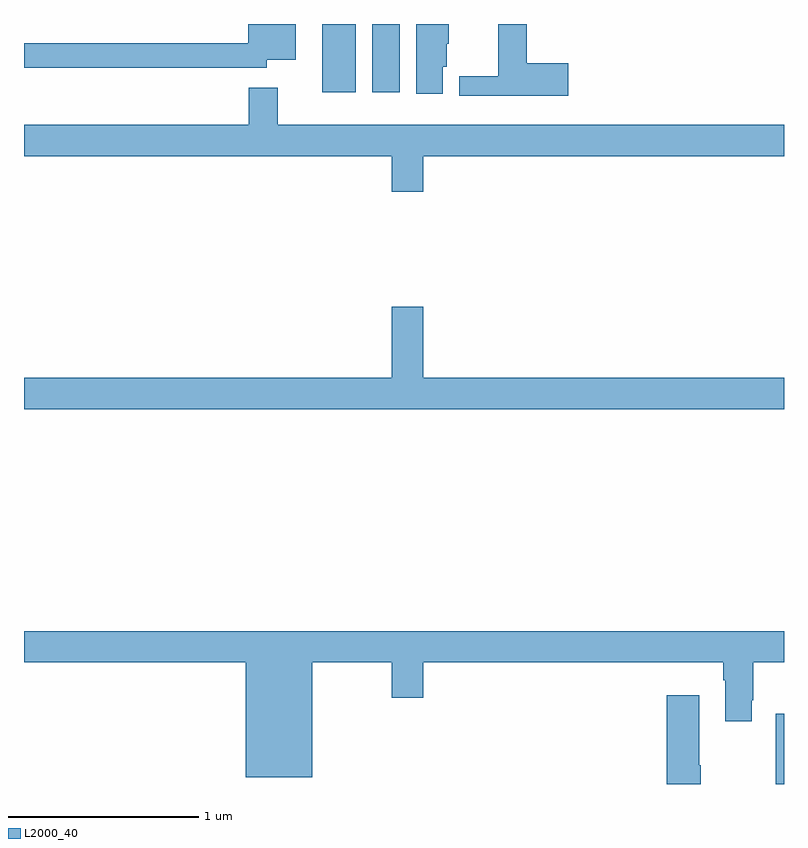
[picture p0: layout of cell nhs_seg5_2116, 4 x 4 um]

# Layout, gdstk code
import gdstk
lib = gdstk.Library(unit=1e-6, precision=1e-09)
def R(c, l, rs):  # rectangles x0, y0, x1, y1
    for r in rs: c.add(gdstk.rectangle(r[:2], r[2:], *l))
def P(c, l, *ps):  # polygons
    for p in ps: c.add(gdstk.Polygon(p, *l))
L2000_40 = (2000, 40)

nhs_seg5_2116 = lib.new_cell('nhs_seg5_2116')
R(nhs_seg5_2116, L2000_40, [(238.956,842.799,239,843.169), (236.57,846.44,236.746,846.799), (236.834,846.44,236.977,846.799)])
P(nhs_seg5_2116, L2000_40, [(237.205,846.573),(237.226,846.573),(237.226,846.696),(237.235,846.696),(237.235,846.799),(237.065,846.799),(237.065,846.432),(237.205,846.432)],
  [(237.865,846.593),(237.647,846.593),(237.647,846.799),(237.496,846.799),(237.496,846.524),(237.291,846.524),(237.291,846.422),(237.865,846.422)],
  [(236.278,846.611),(236.431,846.611),(236.431,846.799),(236.18,846.799),(236.18,846.698),(235,846.698),(235,846.57),(236.278,846.57)],
  [(237.1,846.104),(239,846.104),(239,846.268),(236.335,846.268),(236.335,846.463),(236.183,846.463),(236.183,846.268),(235,846.268),(235,846.104),(236.936,846.104),(236.936,845.916),(237.1,845.916)],
  [(239,844.936),(237.1,844.936),(237.1,845.311),(236.936,845.311),(236.936,844.936),(235,844.936),(235,844.772),(239,844.772)],
  [(235,843.44),(236.168,843.44),(236.168,842.834),(236.518,842.834),(236.518,843.44),(236.936,843.44),(236.936,843.252),(237.1,843.252),(237.1,843.44),(238.679,843.44),(238.679,843.344),(238.691,843.344),(238.691,843.129),(238.831,843.129),(238.831,843.241),(238.839,843.241),(238.839,843.44),(239,843.44),(239,843.604),(235,843.604)],
  [(238.563,842.899),(238.555,842.899),(238.555,843.265),(238.382,843.265),(238.382,842.799),(238.563,842.799)])

lib.write_gds('nhs_seg5_2116.gds')
